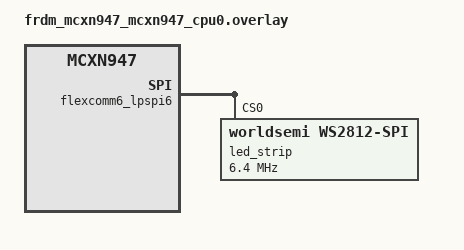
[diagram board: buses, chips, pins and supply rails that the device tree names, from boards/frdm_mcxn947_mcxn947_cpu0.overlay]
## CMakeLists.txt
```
cmake_minimum_required(VERSION 3.22.0)

find_package(Zephyr REQUIRED HINTS $ENV{ZEPHYR_BASE})

set(REMOTE_ZEPHYR_DIR ${CMAKE_CURRENT_BINARY_DIR}/../remote/zephyr)

project(lightRemote)

FILE(GLOB app_sources src/*.c)
target_sources(app PRIVATE ${app_sources})
```

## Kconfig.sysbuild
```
source "share/sysbuild/Kconfig"

config REMOTE_BOARD
    string "Remote board"
    default "frdm_mcxn947/mcxn947/cpu1" if $(BOARD) = "frdm_mcxn947"
```

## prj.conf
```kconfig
CONFIG_COMPILER_WARNINGS_AS_ERRORS=y
CONFIG_ENTROPY_GENERATOR=y
CONFIG_FPU=y
CONFIG_GPIO=y
CONFIG_LED_STRIP=y
CONFIG_LOG=y
CONFIG_MBOX=y
CONFIG_OUTPUT_DISASSEMBLY=y
CONFIG_SPI=y
CONFIG_STD_C17=y
```

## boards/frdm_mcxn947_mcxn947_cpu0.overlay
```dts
// See build/zephyr/zephyr.dts for the full compiled device tree.

#include <zephyr/dt-bindings/led/led.h>

/ {
    aliases {
        green-led = &green_led;
        led-strip = &led_strip;
        red-led = &red_led;
    };
};

&flexcomm6_lpspi6 {
    status = "okay";

    led_strip: ws2812@0 {
        status = "okay";
        compatible = "worldsemi,ws2812-spi";
        reg = <0>;
        spi-max-frequency = <6400000>;

        chain-length = <150>;
        spi-one-frame = <0xF0>;
        spi-zero-frame = <0xC0>;
        color-mapping = <LED_COLOR_ID_GREEN
                         LED_COLOR_ID_RED
                         LED_COLOR_ID_BLUE>;
    };
};
```

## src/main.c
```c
#include <stdio.h>
#include <string.h>

#include <zephyr/device.h>
#include <zephyr/drivers/gpio.h>
#include <zephyr/drivers/led_strip.h>
#include <zephyr/drivers/spi.h>
#include <zephyr/kernel.h>
#include <zephyr/sys/util.h>

#define LOG_LEVEL 4
#include <zephyr/logging/log.h>
LOG_MODULE_REGISTER(main);

#include "algorithm.h"
#include "params.h"

static const struct gpio_dt_spec red_led = GPIO_DT_SPEC_GET(DT_ALIAS(red_led), gpios);
static const struct gpio_dt_spec green_led = GPIO_DT_SPEC_GET(DT_ALIAS(green_led), gpios);

#define STRIP_NODE DT_ALIAS(led_strip)

#if DT_NODE_HAS_PROP(DT_ALIAS(led_strip), chain_length)
#define STRIP_NUM_PIXELS DT_PROP(DT_ALIAS(led_strip), chain_length)
#else
#error Unable to determine length of LED strip
#endif

#define DELAY_TIME K_MSEC(CONFIG_SAMPLE_LED_UPDATE_DELAY)

static struct led_rgb pixels[STRIP_NUM_PIXELS];

static const struct device* const strip = DEVICE_DT_GET(STRIP_NODE);

Config TheConfig = {
    .delta = 1.0 / 2000.0,
    .scalingRoot = 2.0,
    .restoringForce = 0.1,
    .mass = 5.0,
    .friction = 1 - 0.015,
};

Params TheParams = {
    .hue = 0.0,
    .sat = 1.0,
    .val = 1.0,
    .dh = 0.1,
    .ds = 0.1,
    .dv = 0.1,
    .temp = 0.15,
};

Algorithm TheAlgorithm;

float fract(float x)
{
    return x - (int)x;
}

float mix(float a, float b, float t)
{
    return a + (b - a) * t;
}

float step(float e, float x)
{
    return x < e ? 0.0 : 1.0;
}

float constrain(float x, float a, float b)
{
    if (x < a) {
        return a;
    } else if (x > b) {
        return b;
    } else {
        return x;
    }
}

float absf(float x)
{
    if (x < 0.0f) {
        return -x;
    } else {
        return x;
    }
}

int main(void)
{
    int ret;

    if (!gpio_is_ready_dt(&red_led) || !gpio_is_ready_dt(&green_led)) {
        return 0;
    }

    ret = gpio_pin_configure_dt(&red_led, GPIO_OUTPUT);
    if (ret) {
        return 0;
    }

    ret = gpio_pin_configure_dt(&green_led, GPIO_OUTPUT);
    if (ret) {
        return 0;
    }

    ret = gpio_pin_set_dt(&green_led, 0);
    if (ret) {
        return 0;
    }

    if (!device_is_ready(strip)) {
        return 0;
    }

    algorithm_init(&TheAlgorithm, &TheConfig, &TheParams);

    while (1) {
        gpio_pin_toggle_dt(&red_led);

        algorithm_update(&TheAlgorithm);

        for (size_t i = 0; i < ARRAY_SIZE(pixels); i++) {
            float red = TheAlgorithm.val[i] * mix(1.0f, constrain(absf(fract(TheAlgorithm.hue[i] + 1.0f) * 6.0f - 3.0f) - 1.0f, 0.0f, 1.0f), TheAlgorithm.sat[i]);
            float grn = TheAlgorithm.val[i] * mix(1.0f, constrain(absf(fract(TheAlgorithm.hue[i] + 0.6666666f) * 6.0f - 3.0f) - 1.0f, 0.0f, 1.0f), TheAlgorithm.sat[i]);
            float blu = TheAlgorithm.val[i] * mix(1.0f, constrain(absf(fract(TheAlgorithm.hue[i] + 0.3333333f) * 6.0f - 3.0f) - 1.0f, 0.0f, 1.0f), TheAlgorithm.sat[i]);

            // When I scale all the way to 256, the pixels glitch out. Voltage drop? SPI timing?
            pixels[i].r = red * 100;
            pixels[i].g = grn * 100;
            pixels[i].b = blu * 100;
        }

        led_strip_update_rgb(strip, pixels, STRIP_NUM_PIXELS);
    }

    return 0;
}
```

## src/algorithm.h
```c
#pragma once

#include "params.h"

typedef struct {
    Config* config;
    Params* params;

    float force[NUM_PIXELS];

    float hueVel[NUM_PIXELS];

    float linearSatVel[NUM_PIXELS];
    float linearValVel[NUM_PIXELS];

    float linearSat[NUM_PIXELS];
    float linearVal[NUM_PIXELS];

    float hue[NUM_PIXELS];
    float sat[NUM_PIXELS];
    float val[NUM_PIXELS];
} Algorithm;

void algorithm_init(Algorithm* algorithm, Config* config, Params* params);

void algorithm_update(Algorithm* algorithm);
```
